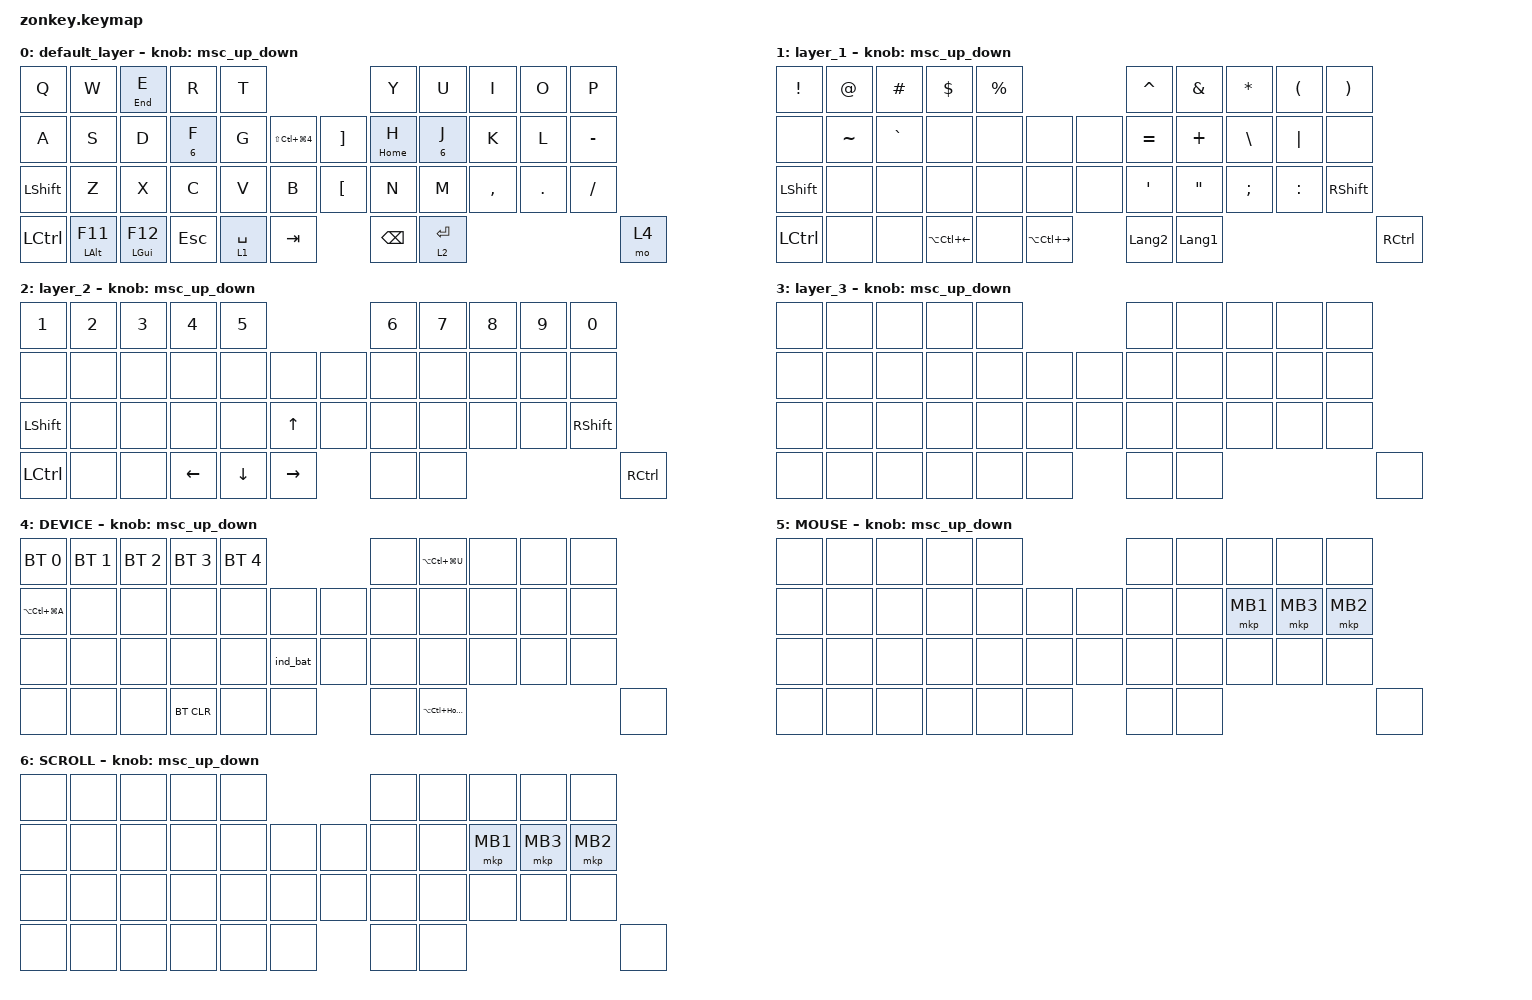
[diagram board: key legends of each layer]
#include <input/processors.dtsi>
#include <behaviors/rgbled_widget.dtsi>
#include <behaviors.dtsi>
#include <dt-bindings/zmk/bt.h>
#include <dt-bindings/zmk/keys.h>
#include <dt-bindings/zmk/pointing.h>

#define ZMK_POINTING_DEFAULT_SCRL_VAL 100
#define JP_DQUOTE       AT                // "

&mt {
    flavor = "balanced";
    quick-tap-ms = <0>;
};

&mkp_input_listener { input-processors = <&zip_temp_layer 5 800>; };

/ {
    combos { compatible = "zmk,combos"; };

    macros {
        to_L0: to_L0 {
            compatible = "zmk,behavior-macro-one-param";
            label = "TO_L0";
            #binding-cells = <1>;
            bindings =
                <&macro_press>,
                <&macro_param_1to1 &mo MACRO_PLACEHOLDER>,
                <&macro_pause_for_release>,
                <&to 0>;
        };
    };

    behaviors {
        msc_up_down: msc_up_down {
            compatible = "zmk,behavior-sensor-rotate";
            label = "MSC_UP_DOWN";
            #sensor-binding-cells = <0>;
            bindings = <&msc SCRL_DOWN>, <&msc SCRL_UP>;

            tap-ms = <20>;
        };

        lt_to_L0: lt_to_L0 {
            compatible = "zmk,behavior-hold-tap";
            label = "LT_TO_L0";
            #binding-cells = <2>;
            bindings = <&to_L0>, <&kp>;

            tapping-term-ms = <200>;
        };
    };

    keymap {
        compatible = "zmk,keymap";

        default_layer {
            bindings = <
&kp Q             &kp W             &mt END E         &kp R          &kp T                                                       &kp Y          &kp U          &kp I      &kp O    &kp P
&kp A             &kp S             &kp D             &lt_to_L0 6 F  &kp G        &kp LS(LC(LG(NUMBER_4)))    &kp RIGHT_BRACKET  &mt HOME H     &lt_to_L0 6 J  &kp K      &kp L    &kp MINUS
&kp LEFT_SHIFT    &kp Z             &kp X             &kp C          &kp V        &kp B                       &kp LEFT_BRACKET   &kp N          &kp M          &kp COMMA  &kp DOT  &kp SLASH
&kp LEFT_CONTROL  &mt LEFT_ALT F11  &mt LEFT_GUI F12  &kp ESCAPE     &lt 1 SPACE  &kp TAB                                        &kp BACKSPACE  &lt 2 ENTER                                   &mo 4
            >;

            sensor-bindings = <&msc_up_down>;
        };

        layer_1 {
            bindings = <
&kp EXCLAMATION   &kp AT_SIGN  &kp HASH   &kp DOLLAR              &kp PERCENT                                    &kp CARET         &kp AMPERSAND      &kp ASTERISK   &kp LEFT_PARENTHESIS  &kp RIGHT_PARENTHESIS
&none             &kp TILDE    &kp GRAVE  &none                   &none        &none                      &none  &kp EQUAL         &kp PLUS           &kp BACKSLASH  &kp PIPE              &none
&kp LEFT_SHIFT    &none        &none      &none                   &none        &none                      &none  &kp SINGLE_QUOTE  &kp DOUBLE_QUOTES  &kp SEMICOLON  &kp COLON             &kp RIGHT_SHIFT
&kp LEFT_CONTROL  &none        &none      &kp LA(LC(LEFT_ARROW))  &none        &kp LA(LC(RIGHT_ARROW))           &kp LANGUAGE_2    &kp LANGUAGE_1                                                                 &kp RIGHT_CONTROL
            >;

            sensor-bindings = <&msc_up_down>;
        };

        layer_2 {
            bindings = <
&kp N1            &kp N2  &kp N3  &kp N4          &kp N5                                    &kp N6  &kp N7  &kp N8  &kp N9  &kp N0
&none             &none   &none   &none           &none           &none              &none  &none   &none   &none   &none   &none
&kp LEFT_SHIFT    &none   &none   &none           &none           &kp UP_ARROW       &none  &none   &none   &none   &none   &kp RIGHT_SHIFT
&kp LEFT_CONTROL  &none   &none   &kp LEFT_ARROW  &kp DOWN_ARROW  &kp RIGHT_ARROW           &none   &none                                    &kp RIGHT_CONTROL
            >;

            sensor-bindings = <&msc_up_down>;
        };

        layer_3 {
            bindings = <
&none  &none  &none  &none  &none                  &none  &none  &none  &none  &none
&none  &none  &none  &none  &none  &none    &none  &none  &none  &none  &none  &none
&none  &none  &none  &none  &none  &none    &none  &none  &none  &none  &none  &none
&none  &none  &none  &none  &none  &none           &none  &none                       &none
            >;

            sensor-bindings = <&msc_up_down>;
        };

        DEVICE {
            bindings = <
&bt BT_SEL 0       &bt BT_SEL 1  &bt BT_SEL 2  &bt BT_SEL 3  &bt BT_SEL 4                     &none  &kp LA(LC(LG(U)))  &none  &none  &none
&kp LA(LC(LG(A)))  &none         &none         &none         &none         &none       &none  &none  &none              &none  &none  &none
&none              &none         &none         &none         &none         &ind_bat    &none  &none  &none              &none  &none  &none
&none              &none         &none         &bt BT_CLR    &none         &none              &none  &kp LA(LC(HOME))                        &none
            >;

            sensor-bindings = <&msc_up_down>;
        };

        MOUSE {
            bindings = <
&none  &none  &none  &none  &none                  &none  &none  &none     &none     &none
&none  &none  &none  &none  &none  &none    &none  &none  &none  &mkp MB1  &mkp MB3  &mkp MB2
&none  &none  &none  &none  &none  &none    &none  &none  &none  &none     &none     &none
&none  &none  &none  &none  &none  &none           &none  &none                                &none
            >;

            sensor-bindings = <&msc_up_down>;
        };

        SCROLL {
            bindings = <
&none  &none  &none  &none  &none                  &none  &none  &none     &none     &none
&none  &none  &none  &none  &none  &none    &none  &none  &none  &mkp MB1  &mkp MB3  &mkp MB2
&none  &none  &none  &none  &none  &none    &none  &none  &none  &none     &none     &none
&none  &none  &none  &none  &none  &none           &none  &none                                &none
            >;

            sensor-bindings = <&msc_up_down>;
        };
    };
};
